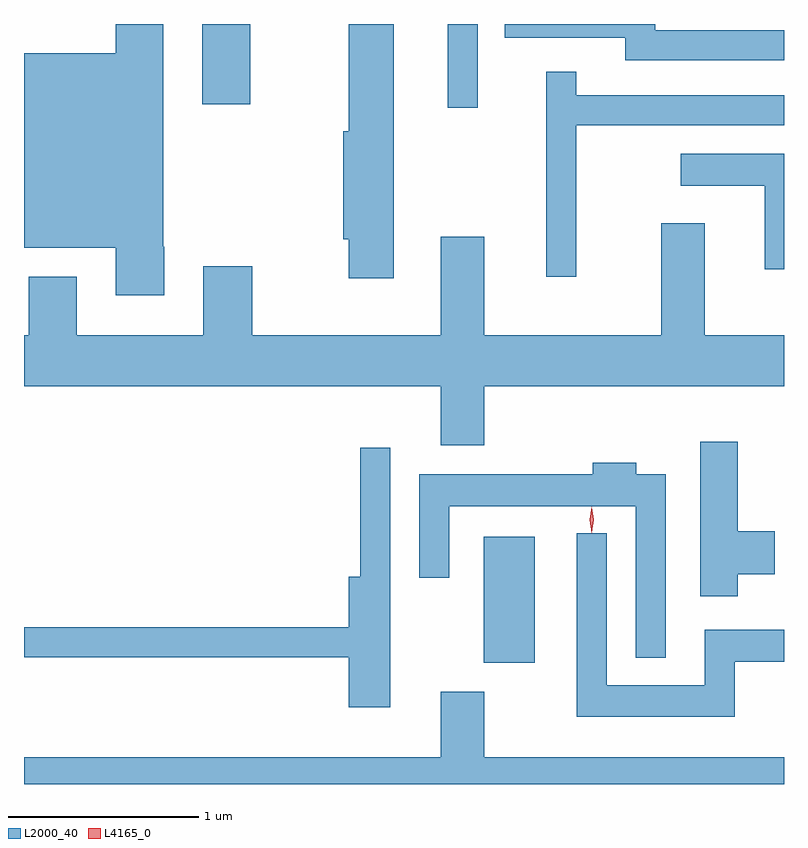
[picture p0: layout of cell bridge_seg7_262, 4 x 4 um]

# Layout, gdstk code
import gdstk
lib = gdstk.Library(unit=1e-6, precision=1e-09)
def R(c, l, rs):  # rectangles x0, y0, x1, y1
    for r in rs: c.add(gdstk.rectangle(r[:2], r[2:], *l))
def P(c, l, *ps):  # polygons
    for p in ps: c.add(gdstk.Polygon(p, *l))
L2000_40 = (2000, 40)
L4165_0 = (4165, 0)

bridge_seg7_262 = lib.new_cell('bridge_seg7_262')
R(bridge_seg7_262, L2000_40, [(1439.966,1763.921,1440.234,1764.584), (1439.776,1766.843,1439.934,1767.283), (1438.486,1766.861,1438.739,1767.283)])
P(bridge_seg7_262, L2000_40, [(1441.547,1767.249),(1440.869,1767.249),(1440.869,1767.283),(1440.078,1767.283),(1440.078,1767.211),(1440.711,1767.211),(1440.711,1767.091),(1441.547,1767.091)],
  [(1438.284,1766.11),(1438.279,1766.11),(1438.279,1767.283),(1438.031,1767.283),(1438.031,1767.129),(1437.547,1767.129),(1437.547,1766.106),(1438.031,1766.106),(1438.031,1765.856),(1438.284,1765.856)],
  [(1439.494,1767.283),(1439.256,1767.283),(1439.256,1766.719),(1439.226,1766.719),(1439.226,1766.151),(1439.256,1766.151),(1439.256,1765.946),(1439.494,1765.946)],
  [(1440.454,1766.751),(1441.547,1766.751),(1441.547,1766.909),(1440.454,1766.909),(1440.454,1767.033),(1440.296,1767.033),(1440.296,1765.953),(1440.454,1765.953)],
  [(1441.547,1766.599),(1441.003,1766.599),(1441.003,1766.431),(1441.446,1766.431),(1441.446,1765.991),(1441.547,1765.991)],
  [(1438.491,1766.009),(1438.491,1765.644),(1437.824,1765.644),(1437.824,1765.954),(1437.571,1765.954),(1437.571,1765.644),(1437.547,1765.644),(1437.547,1765.376),(1439.741,1765.376),(1439.741,1765.066),(1439.969,1765.066),(1439.969,1765.376),(1441.547,1765.376),(1441.547,1765.644),(1441.129,1765.644),(1441.129,1766.234),(1440.901,1766.234),(1440.901,1765.644),(1439.969,1765.644),(1439.969,1766.164),(1439.741,1766.164),(1439.741,1765.644),(1438.749,1765.644),(1438.749,1766.009)],
  [(1441.304,1764.386),(1441.499,1764.386),(1441.499,1764.614),(1441.304,1764.614),(1441.304,1765.084),(1441.106,1765.084),(1441.106,1764.271),(1441.304,1764.271)],
  [(1439.474,1765.053),(1439.316,1765.053),(1439.316,1764.374),(1439.256,1764.374),(1439.256,1764.109),(1437.547,1764.109),(1437.547,1763.951),(1439.256,1763.951),(1439.256,1763.686),(1439.474,1763.686)],
  [(1440.924,1764.914),(1440.769,1764.914),(1440.769,1764.974),(1440.541,1764.974),(1440.541,1764.914),(1439.626,1764.914),(1439.626,1764.368),(1439.784,1764.368),(1439.784,1764.746),(1440.766,1764.746),(1440.766,1763.948),(1440.924,1763.948)],
  [(1441.289,1763.926),(1441.547,1763.926),(1441.547,1764.094),(1441.131,1764.094),(1441.131,1763.804),(1440.614,1763.804),(1440.614,1764.603),(1440.456,1764.603),(1440.456,1763.636),(1441.289,1763.636)],
  [(1441.547,1763.424),(1439.969,1763.424),(1439.969,1763.769),(1439.741,1763.769),(1439.741,1763.424),(1437.547,1763.424),(1437.547,1763.283),(1441.547,1763.283)])
P(bridge_seg7_262, L4165_0, [(1440.534,1764.604),(1440.534,1764.604),(1440.524,1764.674),(1440.534,1764.742),(1440.534,1764.743),(1440.535,1764.742),(1440.544,1764.674),(1440.535,1764.604)],
  [(1440.534,1764.607),(1440.525,1764.674),(1440.534,1764.74),(1440.535,1764.74),(1440.535,1764.74),(1440.545,1764.674),(1440.535,1764.607),(1440.535,1764.607)])

lib.write_gds('bridge_seg7_262.gds')
